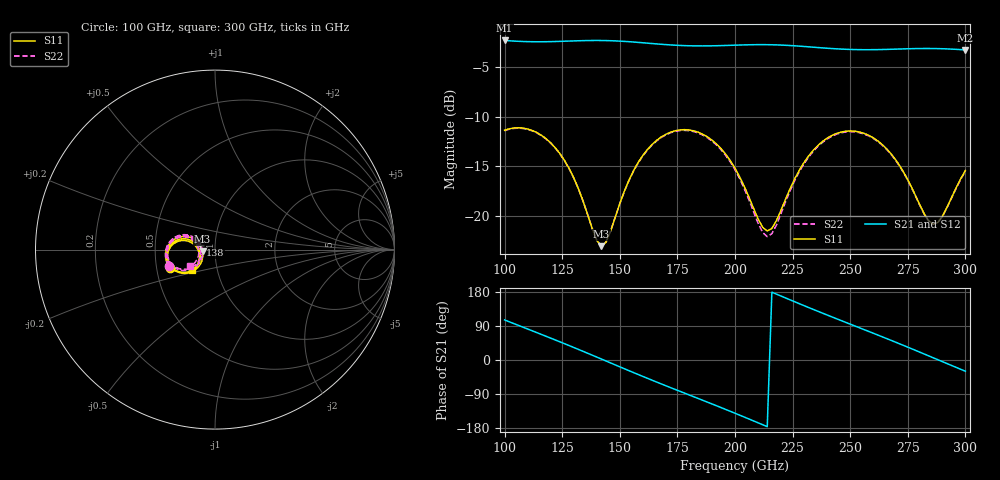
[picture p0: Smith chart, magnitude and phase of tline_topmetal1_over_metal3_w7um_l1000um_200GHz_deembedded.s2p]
! Created with skrf 2.0.1 (http://scikit-rf.org).
# GHz S DB R 50.0
!freq dBS11 angS11 dBS21 angS21 dBS12 angS12 dBS22 angS22
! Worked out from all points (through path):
!   101 points, 100 GHz to 300 GHz, reference 50 ohm
!   highest |S21| = -2.27 dB at 100 GHz (marker M1); lowest = -3.2 dB at 300 GHz (marker M2)
!   group delay of S21, straight-line fit = 6.88 ps
!   lowest |S11| = -23.1 dB at 142 GHz (marker M3), VSWR 1.15, Z = 43.5 - j0.888 ohm
!   |S11| at or under -10 dB: start of sweep to end of sweep
!   |S22| runs from -23.0 to -11.1 dB; largest |S21 - S12| = 3.6e-16
!   S11 on the Smith chart (normalised r, x): 100 GHz: 0.59, -0.13; 138 GHz: 0.85, +0.04; 300 GHz: 0.76, -0.18
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100  -11.35 -157.9  -2.27 105.7  -2.27 105.7  -11.39 -160.6
108  -11.12 -173.0  -2.38 86.5  -2.38 86.5  -11.16 -175.9
116  -11.85 172.6  -2.40 67.4  -2.40 67.4  -11.89 169.4
126  -14.40 157.4  -2.35 43.0  -2.35 43.0  -14.43 154.0
134  -18.46 154.3  -2.29 23.0  -2.29 23.0  -18.47 150.8
138  -21.26 163.7  -2.27 12.8  -2.27 12.8  -21.23 160.0
142  -23.05 -171.7  -2.28 2.6  -2.28 2.6  -23.00 -175.9
154  -16.37 -134.0  -2.40 -28.2  -2.40 -28.2  -16.41 -138.7
168  -12.02 -151.7  -2.66 -63.1  -2.66 -63.1  -12.08 -156.8
176  -11.31 -165.4  -2.77 -82.4  -2.77 -82.4  -11.38 -170.7
184  -11.54 -179.0  -2.82 -101.5  -2.82 -101.5  -11.62 175.4
200  -15.18 159.8  -2.75 -140.5  -2.75 -140.5  -15.33 153.2
214  -21.52 -170.2  -2.70 -175.9  -2.70 -175.9  -22.09 -175.9
224  -17.20 -137.6  -2.78 158.5  -2.78 158.5  -17.41 -141.9
234  -13.36 -143.7  -2.95 133.4  -2.95 133.4  -13.46 -148.9
250  -11.41 -167.9  -3.18 94.6  -3.18 94.6  -11.48 -173.9
258  -11.85 179.6  -3.20 75.5  -3.20 75.5  -11.92 173.2
268  -13.79 166.3  -3.16 51.2  -3.16 51.2  -13.86 159.6
278  -17.77 164.5  -3.09 26.3  -3.09 26.3  -17.82 157.4
286  -20.82 -169.5  -3.09 6.0  -3.09 6.0  -20.84 -176.9
290  -20.03 -151.1  -3.11 -4.2  -3.11 -4.2  -20.06 -158.8
300  -15.40 -138.1  -3.23 -29.6  -3.23 -29.6  -15.46 -146.3
